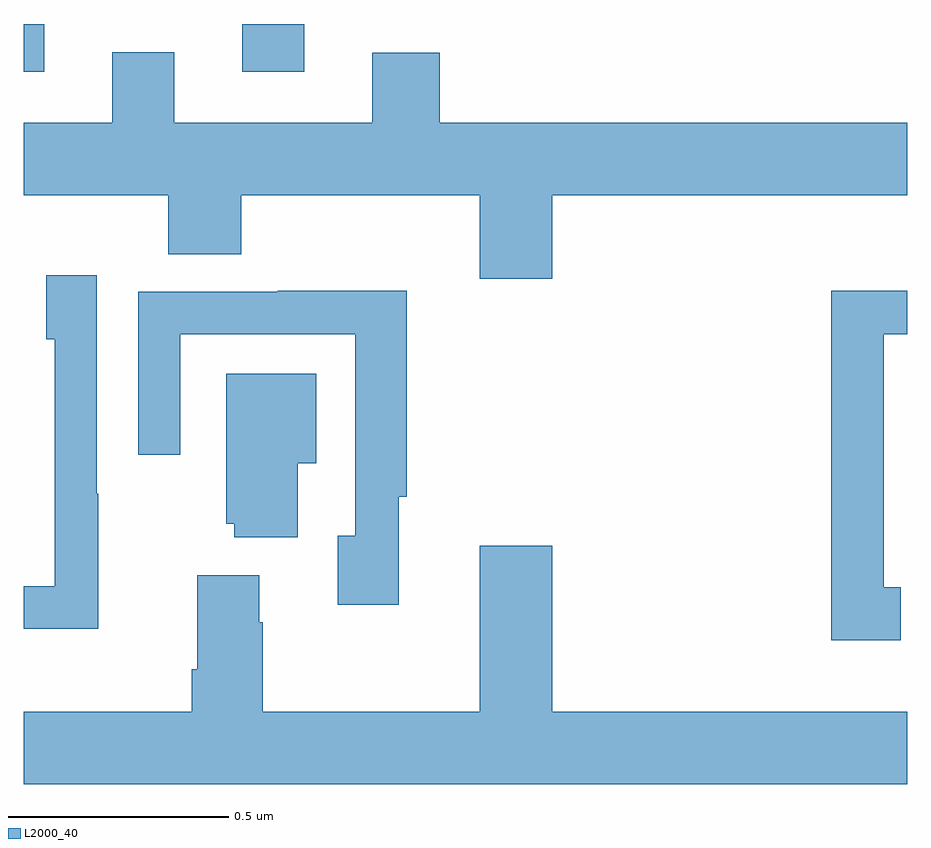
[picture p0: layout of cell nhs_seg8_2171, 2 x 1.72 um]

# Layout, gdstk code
import gdstk
lib = gdstk.Library(unit=1e-6, precision=1e-09)
def R(c, l, rs):  # rectangles x0, y0, x1, y1
    for r in rs: c.add(gdstk.rectangle(r[:2], r[2:], *l))
def P(c, l, *ps):  # polygons
    for p in ps: c.add(gdstk.Polygon(p, *l))
L2000_40 = (2000, 40)

nhs_seg8_2171 = lib.new_cell('nhs_seg8_2171')
R(nhs_seg8_2171, L2000_40, [(140,1104.792,140.047,1104.9), (140.495,1104.792,140.635,1104.9)])
P(nhs_seg8_2171, L2000_40, [(141.196,1104.512),(142,1104.512),(142,1104.676),(140.942,1104.676),(140.942,1104.835),(140.789,1104.835),(140.789,1104.676),(140.341,1104.676),(140.341,1104.836),(140.201,1104.836),(140.201,1104.676),(140,1104.676),(140,1104.512),(140.327,1104.512),(140.327,1104.379),(140.492,1104.379),(140.492,1104.512),(141.032,1104.512),(141.032,1104.324),(141.196,1104.324)],
  [(140.169,1103.837),(140.166,1103.837),(140.166,1104.331),(140.051,1104.331),(140.051,1104.186),(140.07,1104.186),(140.07,1103.628),(140,1103.628),(140,1103.531),(140.169,1103.531)],
  [(140.849,1103.83),(140.867,1103.83),(140.867,1104.296),(140.575,1104.296),(140.575,1104.294),(140.259,1104.294),(140.259,1103.925),(140.355,1103.925),(140.355,1104.198),(140.751,1104.198),(140.751,1103.742),(140.711,1103.742),(140.711,1103.586),(140.849,1103.586)],
  [(141.985,1103.625),(141.946,1103.625),(141.946,1104.198),(142,1104.198),(142,1104.296),(141.828,1104.296),(141.828,1103.505),(141.985,1103.505)],
  [(140.62,1103.906),(140.662,1103.906),(140.662,1104.109),(140.459,1104.109),(140.459,1103.769),(140.477,1103.769),(140.477,1103.738),(140.62,1103.738)],
  [(142,1103.344),(141.196,1103.344),(141.196,1103.719),(141.032,1103.719),(141.032,1103.344),(140.541,1103.344),(140.541,1103.546),(140.533,1103.546),(140.533,1103.653),(140.393,1103.653),(140.393,1103.44),(140.381,1103.44),(140.381,1103.344),(140,1103.344),(140,1103.18),(142,1103.18)])

lib.write_gds('nhs_seg8_2171.gds')
